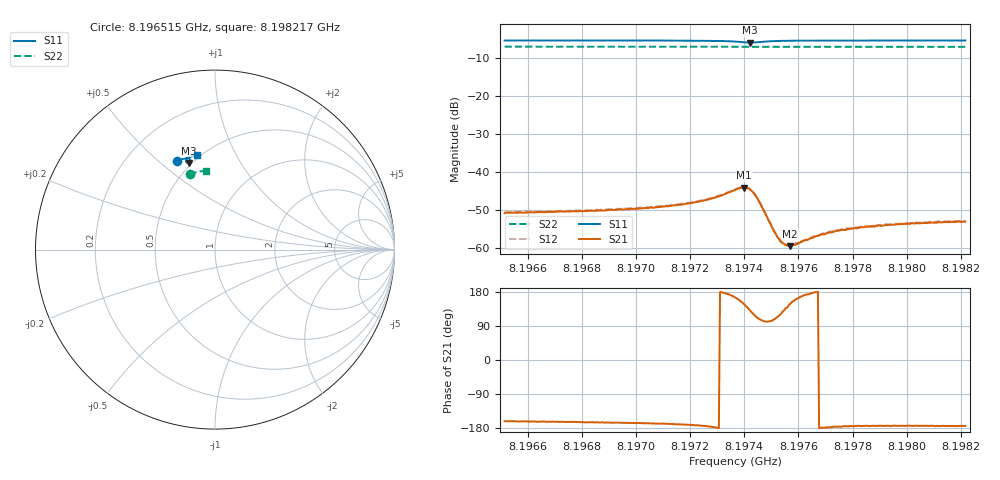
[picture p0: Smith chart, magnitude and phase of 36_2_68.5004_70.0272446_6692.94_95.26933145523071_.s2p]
#  HZ  S  RI  R  50.00
! Rohde & Schwarz Vector Network Analyzer
! Rohde-Schwarz,ZNB20-2Port,1311601062101988,3.16
! Created: UTC 3/20/2024, 4:50:08 PM
! freq[Hz]  re:S11  im:S11  re:S21  im:S21  re:S12  im:S12  re:S22  im:S22
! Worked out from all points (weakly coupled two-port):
!   401 points, 8.196515 GHz to 8.198217 GHz, reference 50 ohm
!   highest |S21| = -44.16 dB at 8.1974 GHz (marker M1); lowest = -59.6 dB at 8.19757 GHz (marker M2)
!   lowest |S11| = -6.0 dB at 8.197421 GHz (marker M3), VSWR 3.03, Z = 24.2 + j31.2 ohm
!   |S11| at or under -10 dB: nowhere
!   |S22| runs from -7.1 to -7.0 dB; largest |S21 - S12| = 0.00034
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8.1965147e9  -0.2131 0.4926  -0.00271 -0.000916  -0.00281 -0.000843  -0.1412 0.4218
8.1967998e9  -0.1933 0.5002  -0.00292 -0.000823  -0.003 -0.000726  -0.1259 0.4262
8.1970849e9  -0.1717 0.507  -0.00336 -0.000726  -0.00348 -0.000621  -0.1102 0.43
8.1971913e9  -0.1622 0.5088  -0.00376 -0.000626  -0.00387 -0.000489  -0.1044 0.4313
8.1972551e9  -0.1551 0.5093  -0.00422 -0.000429  -0.00431 -0.000237  -0.1009 0.432
8.1973062e9  -0.1481 0.5081  -0.00474 -2.38e-05  -0.00484 0.000194  -0.0979 0.4324
8.1973657e9  -0.1385 0.5003  -0.00558 0.00145  -0.00564 0.00171  -0.0944 0.4328
8.1973998e9  -0.1382 0.4888  -0.00517 0.00341  -0.00512 0.00369  -0.0928 0.4328
8.1974211e9  -0.1452 0.4823  -0.00381 0.00443  -0.0037 0.00466  -0.0918 0.433
8.1974381e9  -0.1531 0.482  -0.00236 0.00446  -0.00221 0.00463  -0.0912 0.4332
8.1974508e9  -0.1579 0.4849  -0.00149 0.00403  -0.00134 0.00417  -0.0905 0.4334
8.1975104e9  -0.1608 0.5013  -0.00049 0.00155  -0.00045 0.0016  -0.0874 0.4343
8.1975274e9  -0.1593 0.5043  -0.000591 0.00119  -0.000554 0.0012  -0.0863 0.4346
8.1975445e9  -0.1573 0.5065  -0.000716 0.000883  -0.00066 0.000937  -0.0854 0.4348
8.19757e9  -0.1546 0.509  -0.000892 0.000548  -0.000909 0.000592  -0.084 0.4351
8.1975913e9  -0.1523 0.5107  -0.00104 0.000361  -0.00108 0.000437  -0.0827 0.4353
8.1976508e9  -0.1464 0.5137  -0.00134 7.66e-05  -0.00134 0.000159  -0.0794 0.4357
8.1977104e9  -0.141 0.5158  -0.00158 -5.43e-05  -0.00161 7.66e-06  -0.076 0.4363
8.19777e9  -0.1361 0.5175  -0.00171 -0.000169  -0.00177 -9.41e-05  -0.0726 0.4369
8.1979359e9  -0.123 0.521  -0.002 -0.000201  -0.002 -0.00016  -0.0633 0.438
8.1980593e9  -0.1139 0.5231  -0.00209 -0.000246  -0.00217 -0.000163  -0.0564 0.4387
8.1982167e9  -0.1025 0.5254  -0.0022 -0.000224  -0.00222 -0.000137  -0.0475 0.4395
